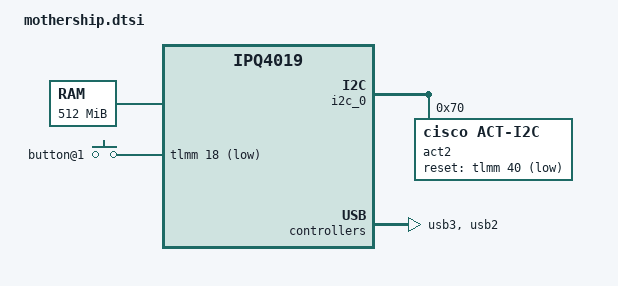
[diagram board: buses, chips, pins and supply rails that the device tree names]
/* Copyright (c) 2015, The Linux Foundation. All rights reserved.
 *
 * Permission to use, copy, modify, and/or distribute this software for any
 * purpose with or without fee is hereby granted, provided that the above
 * copyright notice and this permission notice appear in all copies.
 *
 * THE SOFTWARE IS PROVIDED "AS IS" AND THE AUTHOR DISCLAIMS ALL WARRANTIES
 * WITH REGARD TO THIS SOFTWARE INCLUDING ALL IMPLIED WARRANTIES OF
 * MERCHANTABILITY AND FITNESS. IN NO EVENT SHALL THE AUTHOR BE LIABLE FOR
 * ANY SPECIAL, DIRECT, INDIRECT, OR CONSEQUENTIAL DAMAGES OR ANY DAMAGES
 * WHATSOEVER RESULTING FROM LOSS OF USE, DATA OR PROFITS, WHETHER IN AN
 * ACTION OF CONTRACT, NEGLIGENCE OR OTHER TORTIOUS ACTION, ARISING OUT OF
 * OR IN CONNECTION WITH THE USE OR PERFORMANCE OF THIS SOFTWARE.
 *
 */

#include "qcom-ipq4019-ap.dk04.1.dtsi"
#include <dt-bindings/meraki/tam.h>

/ {
	memory {
		reg = <0x80000000 0x20000000>; /* 512 MiB */
		linux,usable-memory = <0x80000000 0xFF00000>;
	};

	soc {
		gpio_keys {
			button@1 {
				gpios = <&tlmm 18 GPIO_ACTIVE_LOW>;
			};
		};
	
		i2c_0: i2c@78b7000 { /* BLSP1 QUP2 */
			act2@70 {
				compatible = "cisco,act-i2c";
				reg = <0x70>;
				write_buf_size = /bits/ 16 <259>;
				reset = <&tlmm 40 GPIO_ACTIVE_LOW>;
				chip_family = <TAM_FAMILY_ACT2>;
			};
		};

		ess-switch@c000000 {
			switch_mac_mode = <0x0>; /* mac mode for PSGMII */
			switch_lan_bmp = <0x0e>; /* lan port bitmap */
			switch_wan_bmp = <0x30>; /* wan port bitmap */
		};
	
		ess_tcsr: ess_tcsr@1953000 {
			qcom,ess-interface-select = <TCSR_ESS_PSGMII>;
		};
	
		spi_0: spi@78b5000 {
			status = "disabled";
		};
	
		qcom: ledc@1937000  {
			status = "disabled";
		};
	
		usb3_ss_phy: ssphy@0 {
			status = "ok";
		};
	
		dummy_ss_phy: ssphy@1 {
			status = "ok";
		};
	
		usb3_hs_phy: hsphy@a6000 {
			status = "ok";
		};
	
		usb2_hs_phy: hsphy@a8000 {
			status = "ok";
		};
	
		usb3: usb3@8a00000 {
			status = "ok";
		};
	
		usb2: usb2@6000000 {
			status = "ok";
		};
	};
};
